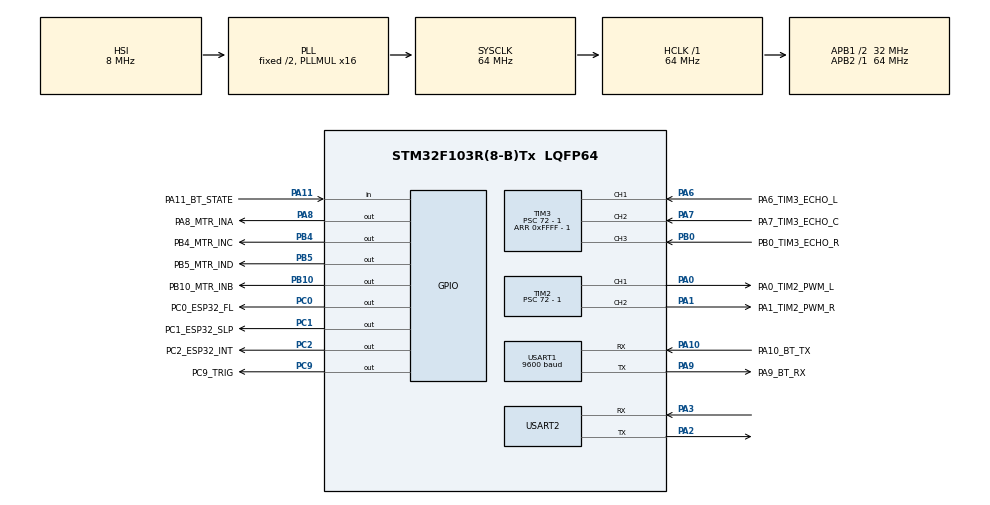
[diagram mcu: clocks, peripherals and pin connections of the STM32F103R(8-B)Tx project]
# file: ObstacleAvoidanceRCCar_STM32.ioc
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Mcu.Family=STM32F1
Mcu.Name=STM32F103R(8-B)Tx
Mcu.Package=LQFP64
NVIC.PriorityGroup=NVIC_PRIORITYGROUP_4
NVIC.TIM2_IRQn=true\:6\:0\:true\:false\:true\:true\:true\:true
NVIC.TIM3_IRQn=true\:5\:0\:true\:false\:true\:true\:true\:true
NVIC.TIM4_IRQn=true\:7\:0\:true\:false\:true\:true\:true\:true
NVIC.USART1_IRQn=true\:8\:0\:true\:false\:true\:true\:true\:true
PA0-WKUP.GPIO_Label=PA0_TIM2_PWM_L
PA0-WKUP.Signal=S_TIM2_CH1_ETR
PA1.GPIO_Label=PA1_TIM2_PWM_R
PA1.Signal=S_TIM2_CH2
PA10.GPIO_Label=PA10_BT_TX
PA10.Mode=Asynchronous
PA10.Signal=USART1_RX
PA11.GPIO_Label=PA11_BT_STATE
PA11.Signal=GPIO_Input
PA13.Mode=Trace_Asynchronous_SW
PA13.Signal=SYS_JTMS-SWDIO
PA14.Mode=Trace_Asynchronous_SW
PA14.Signal=SYS_JTCK-SWCLK
PA2.GPIO_Mode=GPIO_MODE_AF_PP
PA2.GPIO_PuPd=GPIO_NOPULL
PA2.GPIO_Speed=GPIO_SPEED_FREQ_HIGH
PA2.Mode=Asynchronous
PA2.Signal=USART2_TX
PA3.GPIO_Mode=GPIO_MODE_INPUT
PA3.GPIO_PuPd=GPIO_NOPULL
PA3.GPIO_Speed=GPIO_SPEED_FREQ_LOW
PA3.Mode=Asynchronous
PA3.Signal=USART2_RX
PA6.GPIO_Label=PA6_TIM3_ECHO_L
PA6.Signal=S_TIM3_CH1
PA7.GPIO_Label=PA7_TIM3_ECHO_C
PA7.Signal=S_TIM3_CH2
PA8.GPIO_Label=PA8_MTR_INA
PA8.GPIO_PuPd=GPIO_PULLUP
PA8.GPIO_Speed=GPIO_SPEED_FREQ_HIGH
PA8.PinState=GPIO_PIN_SET
PA8.Signal=GPIO_Output
PA9.GPIO_Label=PA9_BT_RX
PA9.Mode=Asynchronous
PA9.Signal=USART1_TX
PB0.GPIO_Label=PB0_TIM3_ECHO_R
PB0.Signal=S_TIM3_CH3
PB10.GPIO_Label=PB10_MTR_INB
PB10.GPIO_PuPd=GPIO_PULLUP
PB10.GPIO_Speed=GPIO_SPEED_FREQ_HIGH
PB10.PinState=GPIO_PIN_SET
PB10.Signal=GPIO_Output
PB3.Mode=Trace_Asynchronous_SW
PB3.Signal=SYS_JTDO-TRACESWO
PB4.GPIO_Label=PB4_MTR_INC
PB4.GPIO_PuPd=GPIO_PULLUP
PB4.GPIO_Speed=GPIO_SPEED_FREQ_HIGH
PB4.PinState=GPIO_PIN_SET
PB4.Signal=GPIO_Output
PB5.GPIO_Label=PB5_MTR_IND
PB5.GPIO_PuPd=GPIO_PULLUP
PB5.GPIO_Speed=GPIO_SPEED_FREQ_HIGH
PB5.PinState=GPIO_PIN_SET
PB5.Signal=GPIO_Output
PC0.GPIO_Label=PC0_ESP32_FL
PC0.GPIO_PuPd=GPIO_PULLDOWN
PC0.GPIO_Speed=GPIO_SPEED_FREQ_HIGH
PC0.Signal=GPIO_Output
PC1.GPIO_Label=PC1_ESP32_SLP
PC1.GPIO_PuPd=GPIO_PULLDOWN
PC1.GPIO_Speed=GPIO_SPEED_FREQ_HIGH
PC1.PinState=GPIO_PIN_RESET
PC1.Signal=GPIO_Output
PC2.GPIO_Label=PC2_ESP32_INT
PC2.GPIO_PuPd=GPIO_PULLDOWN
PC2.GPIO_Speed=GPIO_SPEED_FREQ_HIGH
PC2.PinState=GPIO_PIN_RESET
PC2.Signal=GPIO_Output
PC9.GPIO_Label=PC9_TRIG
PC9.GPIO_PuPd=GPIO_PULLDOWN
PC9.GPIO_Speed=GPIO_SPEED_FREQ_HIGH
PC9.PinState=GPIO_PIN_RESET
PC9.Signal=GPIO_Output
PD0-OSC_IN.Mode=HSE-External-Oscillator
PD0-OSC_IN.Signal=RCC_OSC_IN
PD1-OSC_OUT.Mode=HSE-External-Oscillator
PD1-OSC_OUT.Signal=RCC_OSC_OUT
ProjectManager.HeapSize=0x200
ProjectManager.StackSize=0x400
ProjectManager.TargetToolchain=STM32CubeIDE
RCC.AHBFreq_Value=64000000
RCC.APB1CLKDivider=RCC_HCLK_DIV2
RCC.APB1Freq_Value=32000000
RCC.APB1TimFreq_Value=64000000
RCC.APB2Freq_Value=64000000
RCC.APB2TimFreq_Value=64000000
RCC.HCLKFreq_Value=64000000
RCC.PLLMUL=RCC_PLL_MUL16
RCC.RTCClockSelection=RCC_RTCCLKSOURCE_LSE
RCC.SYSCLKFreq_VALUE=64000000
RCC.SYSCLKSource=RCC_SYSCLKSOURCE_PLLCLK
RCC.USBFreq_Value=64000000
SH.S_TIM2_CH1_ETR.0=TIM2_CH1,PWM Generation1 CH1
SH.S_TIM2_CH2.0=TIM2_CH2,PWM Generation2 CH2
SH.S_TIM3_CH1.0=TIM3_CH1,Input_Capture1_from_TI1
SH.S_TIM3_CH2.0=TIM3_CH2,Input_Capture2_from_TI2
SH.S_TIM3_CH3.0=TIM3_CH3,Input_Capture3_from_TI3
TIM2.AutoReloadPreload=TIM_AUTORELOAD_PRELOAD_ENABLE
TIM2.Channel-PWM\ Generation1\ CH1=TIM_CHANNEL_1
TIM2.Channel-PWM\ Generation2\ CH2=TIM_CHANNEL_2
TIM2.Period=1000 - 1
TIM2.Prescaler=72 - 1
TIM3.Channel-Input_Capture1_from_TI1=TIM_CHANNEL_1
TIM3.Channel-Input_Capture2_from_TI2=TIM_CHANNEL_2
TIM3.Channel-Input_Capture3_from_TI3=TIM_CHANNEL_3
TIM3.ICFilter_CH1=15
TIM3.ICFilter_CH2=15
TIM3.ICFilter_CH3=15
TIM3.Period=0xFFFF - 1
TIM3.Prescaler=72 - 1
TIM4.Period=20000 - 1
TIM4.Prescaler=720 - 1
USART1.BaudRate=9600
USART1.VirtualMode=VM_ASYNC
USART2.VirtualMode=VM_ASYNC
VP_TIM2_VS_ClockSourceINT.Mode=Internal
VP_TIM3_VS_ClockSourceINT.Mode=Internal
VP_TIM4_VS_ClockSourceINT.Mode=Internal
board=NUCLEO-F103RB

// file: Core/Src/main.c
/* USER CODE BEGIN Header */
/**
 ******************************************************************************
 * @file           : main.c
 * @brief          : Main program body
 ******************************************************************************
 * @attention
 *
 * Copyright (c) 2023 STMicroelectronics.
 * All rights reserved.
 *
 * This software is licensed under terms that can be found in the LICENSE file
 * in the root directory of this software component.
 * If no LICENSE file comes with this software, it is provided AS-IS.
 *
 ******************************************************************************
 */
/* USER CODE END Header */
#include "main.h"

/* USER CODE BEGIN Includes */

#include <stdio.h>
#include <string.h>
#include "ultrasonic_sensor.h"
#include "bluetooth_module.h"

/* USER CODE END Includes */

TIM_HandleTypeDef htim2;
TIM_HandleTypeDef htim3;
TIM_HandleTypeDef htim4;

UART_HandleTypeDef huart1;
UART_HandleTypeDef huart2;

/* USER CODE BEGIN PV */

static uint8_t obstacle = 0b000; // obstacle = 0b000, MSB : Left, LSB : Right, Middle : Center

// ultrasonic_sensor
extern uint8_t L_Dist_arr[DIST_ARR_SIZE];
extern uint8_t C_Dist_arr[DIST_ARR_SIZE];
extern uint8_t R_Dist_arr[DIST_ARR_SIZE];

// motor_driver
extern uint8_t cur_dir;

// bluetooth_module
extern uint8_t rx_c;
extern uint8_t tx_c;
extern uint8_t tx_dist[256];

/* USER CODE END PV */

void SystemClock_Config(void);
static void MX_GPIO_Init(void);
static void MX_USART2_UART_Init(void);
static void MX_TIM2_Init(void);
static void MX_TIM3_Init(void);
static void MX_TIM4_Init(void);
static void MX_USART1_UART_Init(void);
/* USER CODE BEGIN PFP */

void delay_us(uint16_t time) {  // delay for microseconds
	__HAL_TIM_SET_COUNTER(&htim3, 0);
	while ((__HAL_TIM_GET_COUNTER(&htim3)) < time)
		;
}

void HAL_TIM_PeriodElapsedCallback(TIM_HandleTypeDef *htim) { // read & send distance every 200ms
	if (htim->Instance == htim4.Instance) {
		if (HAL_GPIO_ReadPin(PA11_BT_STATE_GPIO_Port, PA11_BT_STATE_Pin) == 0) // if bluetooth connection is lost
			drive('h');  // stop car
		HCSR04_Read();

		obstacle = 0;

		if (cur_dir != 'h') {
			if (R_Dist_arr[0] < 10) {  // Right sensor got obstacle < 10cm
				if (R_Dist_arr[0] < R_Dist_arr[1]
						&& R_Dist_arr[1] < R_Dist_arr[2]) {
					obstacle |= 0b001;
				}
			}
			if (C_Dist_arr[0] < 10) {  // Center sensor got obstacle < 10cm
				if (C_Dist_arr[0] < C_Dist_arr[1]
						&& C_Dist_arr[1] < C_Dist_arr[2]) {
					obstacle |= 0b010;
				}
			}
			if (L_Dist_arr[0] < 10) {  // Left sensor got obstacle < 10cm
				if (L_Dist_arr[0] < L_Dist_arr[1]
						&& L_Dist_arr[1] < L_Dist_arr[2]) {
					obstacle |= 0b100;
				}
			}
		}
		send_distance(L_Dist_arr[0], C_Dist_arr[0], R_Dist_arr[0]);
	}
}

/* USER CODE END PFP */

/* USER CODE BEGIN 0 */

#ifdef __GNUC__
#define PUTCHAR_PROTOTYPE int __io_putchar(int ch)
#else
#define PUTCHAR_PROTOTYPE int fputc(int ch, FILE *f)
#endif

/**
 * @brief Retargets the C library printf function to the USART
 * @param None
 * @retval None
 */
PUTCHAR_PROTOTYPE {
	if (ch == '\n')
		HAL_UART_Transmit(&huart2, (uint8_t*) "\r", 1, 0xFFFF);
	HAL_UART_Transmit(&huart2, (uint8_t*) &ch, 1, 0xFFFF);
	return ch;
}

/* USER CODE END 0 */

int main(void)
{

  /* MCU Configuration--------------------------------------------------------*/

  /* Reset of all peripherals, Initializes the Flash interface and the Systick. */
  HAL_Init();

  /* Configure the system clock */
  SystemClock_Config();

  /* Initialize all configured peripherals */
  MX_GPIO_Init();
  MX_USART2_UART_Init();
  MX_TIM2_Init();
  MX_TIM3_Init();
  MX_TIM4_Init();
  MX_USART1_UART_Init();
  /* USER CODE BEGIN 2 */

	// ultrasonic_sensor
	ultrasonic_init(&htim3);
	HAL_TIM_IC_Start_IT(&htim3, TIM_CHANNEL_1);
	HAL_TIM_IC_Start_IT(&htim3, TIM_CHANNEL_2);
	HAL_TIM_IC_Start_IT(&htim3, TIM_CHANNEL_3);

	// motor_driver_esp32cam
	motor_init(&htim2);
	HAL_TIM_PWM_Start(&htim2, TIM_CHANNEL_1);
	HAL_TIM_PWM_Start(&htim2, TIM_CHANNEL_2);

	// bluetooth_module
	init_bt(&huart1);
	HAL_UART_Receive_IT(&huart1, &rx_c, 1);
	HAL_TIM_Base_Start_IT(&htim4);

  /* USER CODE END 2 */

  /* Infinite loop */
  /* USER CODE BEGIN WHILE */
	while (1) {

//		switch (obstacle) {
//			case 1 :  // 0b001, Right obstacle
//				drive('a');
//				break;
//
//			case 2 :  // 0b010, Center obstacle
//				drive('a');
//				break;
//
//			case 3 :  // 0b011, Center & Right obstacle
//				drive('a');
//				break;
//
//			case 4 :  // 0b100, Left obstacle
//				drive('d');
//				break;
//
//			case 5 :  // 0b101, Left & Right obstacle
//				drive('s');
//				break;
//
//			case 6 :  // 0b110, Left & Center obstacle
//
//				break;
//
//			case 7 :  // 0b111, Left & Center & Right obstacle
//
//				break;
//
//			default :  // 0b000
//
//		}

    /* USER CODE END WHILE */

	}
}

void SystemClock_Config(void)
{
  RCC_OscInitTypeDef RCC_OscInitStruct = {0};
  RCC_ClkInitTypeDef RCC_ClkInitStruct = {0};

  /** Initializes the RCC Oscillators according to the specified parameters
  * in the RCC_OscInitTypeDef structure.
  */
  RCC_OscInitStruct.OscillatorType = RCC_OSCILLATORTYPE_HSI;
  RCC_OscInitStruct.HSIState = RCC_HSI_ON;
  RCC_OscInitStruct.HSICalibrationValue = RCC_HSICALIBRATION_DEFAULT;
  RCC_OscInitStruct.PLL.PLLState = RCC_PLL_ON;
  RCC_OscInitStruct.PLL.PLLSource = RCC_PLLSOURCE_HSI_DIV2;
  RCC_OscInitStruct.PLL.PLLMUL = RCC_PLL_MUL16;
  if (HAL_RCC_OscConfig(&RCC_OscInitStruct) != HAL_OK)
  {
    Error_Handler();
  }

  /** Initializes the CPU, AHB and APB buses clocks
  */
  RCC_ClkInitStruct.ClockType = RCC_CLOCKTYPE_HCLK|RCC_CLOCKTYPE_SYSCLK
                              |RCC_CLOCKTYPE_PCLK1|RCC_CLOCKTYPE_PCLK2;
  RCC_ClkInitStruct.SYSCLKSource = RCC_SYSCLKSOURCE_PLLCLK;
  RCC_ClkInitStruct.AHBCLKDivider = RCC_SYSCLK_DIV1;
  RCC_ClkInitStruct.APB1CLKDivider = RCC_HCLK_DIV2;
  RCC_ClkInitStruct.APB2CLKDivider = RCC_HCLK_DIV1;

  if (HAL_RCC_ClockConfig(&RCC_ClkInitStruct, FLASH_LATENCY_2) != HAL_OK)
  {
    Error_Handler();
  }
}

static void MX_TIM2_Init(void)
{

  TIM_ClockConfigTypeDef sClockSourceConfig = {0};
  TIM_MasterConfigTypeDef sMasterConfig = {0};
  TIM_OC_InitTypeDef sConfigOC = {0};

  htim2.Instance = TIM2;
  htim2.Init.Prescaler = 72 - 1;
  htim2.Init.CounterMode = TIM_COUNTERMODE_UP;
  htim2.Init.Period = 1000 - 1;
  htim2.Init.ClockDivision = TIM_CLOCKDIVISION_DIV1;
  htim2.Init.AutoReloadPreload = TIM_AUTORELOAD_PRELOAD_ENABLE;
  if (HAL_TIM_Base_Init(&htim2) != HAL_OK)
  {
    Error_Handler();
  }
  sClockSourceConfig.ClockSource = TIM_CLOCKSOURCE_INTERNAL;
  if (HAL_TIM_ConfigClockSource(&htim2, &sClockSourceConfig) != HAL_OK)
  {
    Error_Handler();
  }
  if (HAL_TIM_PWM_Init(&htim2) != HAL_OK)
  {
    Error_Handler();
  }
  sMasterConfig.MasterOutputTrigger = TIM_TRGO_RESET;
  sMasterConfig.MasterSlaveMode = TIM_MASTERSLAVEMODE_DISABLE;
  if (HAL_TIMEx_MasterConfigSynchronization(&htim2, &sMasterConfig) != HAL_OK)
  {
    Error_Handler();
  }
  sConfigOC.OCMode = TIM_OCMODE_PWM1;
  sConfigOC.Pulse = 0;
  sConfigOC.OCPolarity = TIM_OCPOLARITY_HIGH;
  sConfigOC.OCFastMode = TIM_OCFAST_DISABLE;
  if (HAL_TIM_PWM_ConfigChannel(&htim2, &sConfigOC, TIM_CHANNEL_1) != HAL_OK)
  {
    Error_Handler();
  }
  if (HAL_TIM_PWM_ConfigChannel(&htim2, &sConfigOC, TIM_CHANNEL_2) != HAL_OK)
  {
    Error_Handler();
  }
  HAL_TIM_MspPostInit(&htim2);

}

static void MX_TIM3_Init(void)
{

  TIM_ClockConfigTypeDef sClockSourceConfig = {0};
  TIM_MasterConfigTypeDef sMasterConfig = {0};
  TIM_IC_InitTypeDef sConfigIC = {0};

  htim3.Instance = TIM3;
  htim3.Init.Prescaler = 72 - 1;
  htim3.Init.CounterMode = TIM_COUNTERMODE_UP;
  htim3.Init.Period = 0xFFFF - 1;
  htim3.Init.ClockDivision = TIM_CLOCKDIVISION_DIV1;
  htim3.Init.AutoReloadPreload = TIM_AUTORELOAD_PRELOAD_DISABLE;
  if (HAL_TIM_Base_Init(&htim3) != HAL_OK)
  {
    Error_Handler();
  }
  sClockSourceConfig.ClockSource = TIM_CLOCKSOURCE_INTERNAL;
  if (HAL_TIM_ConfigClockSource(&htim3, &sClockSourceConfig) != HAL_OK)
  {
    Error_Handler();
  }
  if (HAL_TIM_IC_Init(&htim3) != HAL_OK)
  {
    Error_Handler();
  }
  sMasterConfig.MasterOutputTrigger = TIM_TRGO_RESET;
  sMasterConfig.MasterSlaveMode = TIM_MASTERSLAVEMODE_DISABLE;
  if (HAL_TIMEx_MasterConfigSynchronization(&htim3, &sMasterConfig) != HAL_OK)
  {
    Error_Handler();
  }
  sConfigIC.ICPolarity = TIM_INPUTCHANNELPOLARITY_RISING;
  sConfigIC.ICSelection = TIM_ICSELECTION_DIRECTTI;
  sConfigIC.ICPrescaler = TIM_ICPSC_DIV1;
  sConfigIC.ICFilter = 15;
  if (HAL_TIM_IC_ConfigChannel(&htim3, &sConfigIC, TIM_CHANNEL_1) != HAL_OK)
  {
    Error_Handler();
  }
  if (HAL_TIM_IC_ConfigChannel(&htim3, &sConfigIC, TIM_CHANNEL_2) != HAL_OK)
  {
    Error_Handler();
  }
  if (HAL_TIM_IC_ConfigChannel(&htim3, &sConfigIC, TIM_CHANNEL_3) != HAL_OK)
  {
    Error_Handler();
  }

}

static void MX_TIM4_Init(void)
{

  TIM_ClockConfigTypeDef sClockSourceConfig = {0};
  TIM_MasterConfigTypeDef sMasterConfig = {0};

  htim4.Instance = TIM4;
  htim4.Init.Prescaler = 720 - 1;
  htim4.Init.CounterMode = TIM_COUNTERMODE_UP;
  htim4.Init.Period = 20000 - 1;
  htim4.Init.ClockDivision = TIM_CLOCKDIVISION_DIV1;
  htim4.Init.AutoReloadPreload = TIM_AUTORELOAD_PRELOAD_DISABLE;
  if (HAL_TIM_Base_Init(&htim4) != HAL_OK)
  {
    Error_Handler();
  }
  sClockSourceConfig.ClockSource = TIM_CLOCKSOURCE_INTERNAL;
  if (HAL_TIM_ConfigClockSource(&htim4, &sClockSourceConfig) != HAL_OK)
  {
    Error_Handler();
  }
  sMasterConfig.MasterOutputTrigger = TIM_TRGO_RESET;
  sMasterConfig.MasterSlaveMode = TIM_MASTERSLAVEMODE_DISABLE;
  if (HAL_TIMEx_MasterConfigSynchronization(&htim4, &sMasterConfig) != HAL_OK)
  {
    Error_Handler();
  }

}

static void MX_USART1_UART_Init(void)
{

  huart1.Instance = USART1;
  huart1.Init.BaudRate = 9600;
  huart1.Init.WordLength = UART_WORDLENGTH_8B;
  huart1.Init.StopBits = UART_STOPBITS_1;
  huart1.Init.Parity = UART_PARITY_NONE;
  huart1.Init.Mode = UART_MODE_TX_RX;
  huart1.Init.HwFlowCtl = UART_HWCONTROL_NONE;
  huart1.Init.OverSampling = UART_OVERSAMPLING_16;
  if (HAL_UART_Init(&huart1) != HAL_OK)
  {
    Error_Handler();
  }

}

static void MX_USART2_UART_Init(void)
{

  huart2.Instance = USART2;
  huart2.Init.BaudRate = 115200;
  huart2.Init.WordLength = UART_WORDLENGTH_8B;
  huart2.Init.StopBits = UART_STOPBITS_1;
  huart2.Init.Parity = UART_PARITY_NONE;
  huart2.Init.Mode = UART_MODE_TX_RX;
  huart2.Init.HwFlowCtl = UART_HWCONTROL_NONE;
  huart2.Init.OverSampling = UART_OVERSAMPLING_16;
  if (HAL_UART_Init(&huart2) != HAL_OK)
  {
    Error_Handler();
  }

}

static void MX_GPIO_Init(void)
{
  GPIO_InitTypeDef GPIO_InitStruct = {0};

  /* GPIO Ports Clock Enable */
  __HAL_RCC_GPIOD_CLK_ENABLE();
  __HAL_RCC_GPIOC_CLK_ENABLE();
  __HAL_RCC_GPIOA_CLK_ENABLE();
  __HAL_RCC_GPIOB_CLK_ENABLE();

  /*Configure GPIO pin Output Level */
  HAL_GPIO_WritePin(GPIOC, PC0_ESP32_FL_Pin|PC1_ESP32_SLP_Pin|PC2_ESP32_INT_Pin|PC9_TRIG_Pin, GPIO_PIN_RESET);

  /*Configure GPIO pin Output Level */
  HAL_GPIO_WritePin(GPIOB, PB10_MTR_INB_Pin|PB4_MTR_INC_Pin|PB5_MTR_IND_Pin, GPIO_PIN_SET);

  /*Configure GPIO pin Output Level */
  HAL_GPIO_WritePin(PA8_MTR_INA_GPIO_Port, PA8_MTR_INA_Pin, GPIO_PIN_SET);

  /*Configure GPIO pins : PC0_ESP32_FL_Pin PC1_ESP32_SLP_Pin PC2_ESP32_INT_Pin PC9_TRIG_Pin */
  GPIO_InitStruct.Pin = PC0_ESP32_FL_Pin|PC1_ESP32_SLP_Pin|PC2_ESP32_INT_Pin|PC9_TRIG_Pin;
  GPIO_InitStruct.Mode = GPIO_MODE_OUTPUT_PP;
  GPIO_InitStruct.Pull = GPIO_PULLDOWN;
  GPIO_InitStruct.Speed = GPIO_SPEED_FREQ_HIGH;
  HAL_GPIO_Init(GPIOC, &GPIO_InitStruct);

  /*Configure GPIO pins : PB10_MTR_INB_Pin PB4_MTR_INC_Pin PB5_MTR_IND_Pin */
  GPIO_InitStruct.Pin = PB10_MTR_INB_Pin|PB4_MTR_INC_Pin|PB5_MTR_IND_Pin;
  GPIO_InitStruct.Mode = GPIO_MODE_OUTPUT_PP;
  GPIO_InitStruct.Pull = GPIO_PULLUP;
  GPIO_InitStruct.Speed = GPIO_SPEED_FREQ_HIGH;
  HAL_GPIO_Init(GPIOB, &GPIO_InitStruct);

  /*Configure GPIO pin : PA8_MTR_INA_Pin */
  GPIO_InitStruct.Pin = PA8_MTR_INA_Pin;
  GPIO_InitStruct.Mode = GPIO_MODE_OUTPUT_PP;
  GPIO_InitStruct.Pull = GPIO_PULLUP;
  GPIO_InitStruct.Speed = GPIO_SPEED_FREQ_HIGH;
  HAL_GPIO_Init(PA8_MTR_INA_GPIO_Port, &GPIO_InitStruct);

  /*Configure GPIO pin : PA11_BT_STATE_Pin */
  GPIO_InitStruct.Pin = PA11_BT_STATE_Pin;
  GPIO_InitStruct.Mode = GPIO_MODE_INPUT;
  GPIO_InitStruct.Pull = GPIO_NOPULL;
  HAL_GPIO_Init(PA11_BT_STATE_GPIO_Port, &GPIO_InitStruct);

}

void Error_Handler(void)
{
	__disable_irq();
	while (1) {
	}
}
